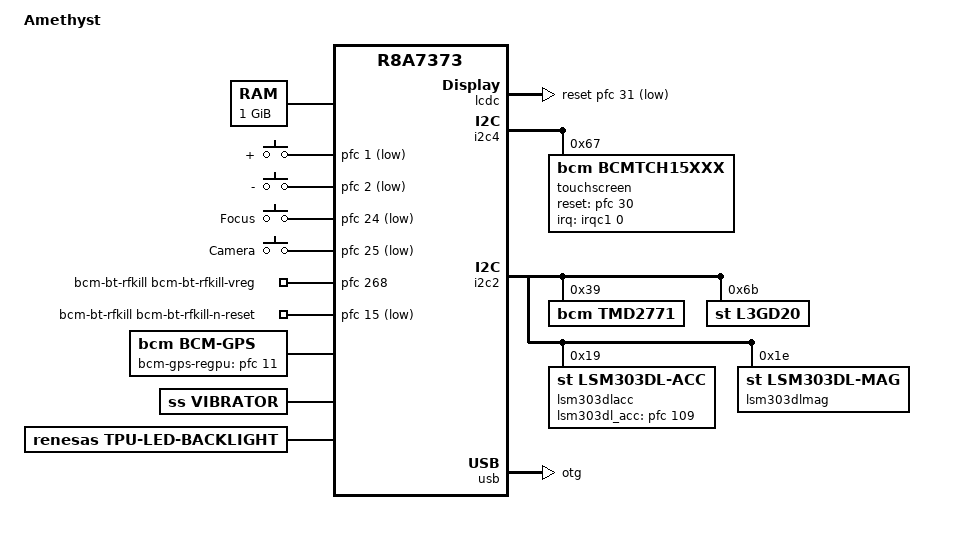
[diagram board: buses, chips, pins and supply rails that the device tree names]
/*
 * Device Tree Source for the r8a7373 based amethyst board
 *
 * Copyright (C) 2013 Renesas Mobile
 *
 * This file is licensed under the terms of the GNU General Public License
 * version 2.  This program is licensed "as is" without any warranty of any
 * kind, whether express or implied.
 */

#include "eos-board-common.dtsi"
#include <dt-bindings/gpio/gpio.h>
#include <dt-bindings/input/input.h>

/{
	model = "Amethyst";
	compatible = "renesas,amethyst", "renesas,r8a7373";

	chosen {
		bootargs = "console=ttySC0,115200 earlyprintk=sh-sci.0,115200";
		linux,sysrq-reset-seq {
			keyset = <KEY_VOLUMEDOWN KEY_VOLUMEUP>;
			timeout-ms = <3000>;
		};
	};

	memory@40000000 {
		device_type = "memory";
		reg = <0x40000000 0x40000000>;
	};

	gpio-keys {
		compatible = "gpio-keys";
		#address-cells = <0>;
		#size-cells = <0>;
		pinctrl-names = "default";
		pinctrl-0 = <&key_pins>;

		volume-up {
			label = "+";
			gpios = <&pfc 1 GPIO_ACTIVE_LOW>;
			linux,code = <KEY_VOLUMEUP>;
			gpio-key,wakeup;
		};

		volume-down {
			label = "-";
			gpios = <&pfc 2 GPIO_ACTIVE_LOW>;
			linux,code = <KEY_VOLUMEDOWN>;
			gpio-key,wakeup;
		};

		focus {
			label = "Focus";
			gpios = <&pfc 24 GPIO_ACTIVE_LOW>;
			linux,code = <KEY_CAMERA_FOCUS>;
			gpio-key,wakeup;
		};

		camera {
			label = "Camera";
			gpios = <&pfc 25 GPIO_ACTIVE_LOW>;
			linux,code = <KEY_CAMERA>;
			gpio-key,wakeup;
		};
	};

	bcm-bt-rfkill {
		compatible = "bcm,bcm-bt-rfkill";
		bcm-bt-rfkill-vreg-gpio = <&pfc 268 GPIO_ACTIVE_HIGH>;
		bcm-bt-rfkill-n-reset-gpio = <&pfc 15 GPIO_ACTIVE_LOW>;
	};

        wlan-sdio {
                compatible = "brcm,wlan-sdio";
                bcm-wlan-host-wake = <&pfc 98 GPIO_ACTIVE_HIGH>;
                bcm-wlan-reset = <&pfc 260 GPIO_ACTIVE_HIGH>;
        };

	lsm303dl-input {
		compatible = "st,lsm303dl-input";
	};

	sound {
		compatible = "renesas,fsi-snd-d2153";
		renesas,fsia = <&fsia>;
		renesas,fsib = <&fsib>;
		renesas,mclk-freq = <13000000>;
		renesas,audio-routing =
			"RECCHL", "AIFOUTL",
			"RECCHR", "AIFOUTR",
			"AIFINL", "VCLK4",
			"AIFINR", "VCLK4",
			"AIFOUTL", "VCLK4",
			"AIFOUTR", "VCLK4",
			"Headphone Jack Left", "Headphone Left PGA",
			"Headphone Jack Right", "Headphone Right PGA",
			"Speaker", "Speaker PGA",
			"Earpiece", "Earpiece PGA";
	};

	bcm-gps {
		compatible = "bcm,bcm-gps";
		bcm-gps-hostwake = <&pfc 0 GPIO_ACTIVE_HIGH>;
		bcm-gps-regpu-gpio = <&pfc 11 GPIO_ACTIVE_HIGH>;
	};

	vibrator {
		compatible = "ss,vibrator";
		regulator  = "vdd_motor_pmic";
		voltage    = <2800000>;
	};

	backlight {
		compatible = "renesas,tpu-led-backlight";
		renesas,tpu-channel = "TPU0TO3";
		max-brightness = <255>;
		default-brightness = <143>;
		pinctrl-names = "default", "idle";
		pinctrl-0 = <&backlight_pin>;
		pinctrl-1 = <&backlight_pin_hiz>;
	};
};

&lcdc {
	pname = "NT35516";
	reset-gpio = <&pfc 31 GPIO_ACTIVE_LOW>;
	te-irq = <&pfc 27 GPIO_ACTIVE_HIGH>;
	esd-irq = <&pfc 6 GPIO_ACTIVE_HIGH>;
	renesas,desense-offset= <2500000>;
};

&pfc {
	hogs {
		unused-pins {
			renesas,groups =
				"scifa0_clk", "scifa1_ctrl", "scifa1_clk",
				"scifb3_data", "vio_cko5", "bsc_rd_we16",
				"bsc_cs0", "bsc_cs2", "bsc_cs4", "bsc_wait",
				"bsc_rdwr", "bsc_data16", "bsc_cko",
				"bsc_addr_0_10","fsib_mclk_in", "sdhi2_data4",
				"sdhi2_ctrl", "sdhi0_wp";
			renesas,pins =
				"PORT3", "PORT6", "PORT8", "PORT10", "PORT14",
				"PORT17", "PORT18", "PORT23", "PORT26",
				"PORT29", "PORT33", "PORT44", "PORT46",
				"PORT47", "PORT72", "PORT73", "PORT74",
				"PORT75", "PORT80", "PORT81", "PORT82",
				"PORT83", "PORT86", "PORT87", "PORT88",
				"PORT89", "PORT90", "PORT96", "PORT97",
				"PORT102", "PORT103", "PORT104", "PORT105",
				"PORT107", "PORT110", "PORT140", "PORT141",
				"PORT142", "PORT198", "PORT199", "PORT275",
				"PORT276", "PORT277", "PORT311", "PORT312";
			bias-pull-down;
		};
	};

	key_pins: keys {
		renesas,pins = "PORT1", "PORT2", "PORT24", "PORT25";
		bias-pull-up;
	};

	backlight_pin: backlight {
		renesas,groups = "tpu0_to3";
		renesas,function = "tpu0";
	};

	backlight_pin_hiz: backlight_hiz {
		renesas,groups = "tpu0_to3";
		bias-high-impedance;
	};
};

&i2c4 {
	touchscreen@67 {
		compatible = "bcm,bcmtch15xxx";
		reg = <0x67>;
		addr-sys = <0x68>;
		interrupt-parent = <&irqc1>;
		interrupts = <0 IRQ_TYPE_EDGE_FALLING>;
		reset-gpios = <&pfc 30 GPIO_ACTIVE_HIGH>;
		reset-time-ms = <100>;
		axis-orientation-flag = <0>;
		ext-button-count = <3>;
		ext-button-map = <KEY_BACK KEY_HOME KEY_MENU>;
		power-on-delay-us = <0>;
		bcmtch-fw-rev = <1>;
	};
};

&i2c2 {
	#address-cells = <1>;
	#size-cells = <0>;

	/* Proximity Sensor */
	tmd2771: tmd2771@0x39 {
		compatible = "bcm,tmd2771";
		reg = <0x39>;
		gpio-irq-pin = <108>;
		calibrate_target_param = <300000>;
		als_time_param = <200>;
		scale_factor_param = <1>;
		gain_trim_param = <512>;
		filter_history_param = <3>;
		filter_count_param = <1>;
		gain_param = <2>;
		prox_threshold_hi_param = <255>;
		prox_threshold_lo_param = <170>;
		als_threshold_hi_param = <1>;
		als_threshold_lo_param = <0>;
		prox_int_time_param = <238>;
		prox_adc_time_param = <255>;
		prox_wait_time_param = <238>;
		prox_intr_filter_param = <17>;
		prox_config_param = <0>;
		prox_pulse_cnt_param = <32>;
		prox_gain_param = <0x62>;
		prox_win_sw = <10>;
	};

	/* Gyroscope Sensor */
	l3gd20: l3gd20@6b {
		compatible = "st,l3gd20";
		/* slave address */
		reg = <0x6b>;
		orientation = /bits/ 8 <0x00 0xFF 0x00
					0x01 0x00 0x00
					0x00 0x00 0x01>;
	};

	/* Accelerometer sensor */
	lsm303dlacc: lsm303dlacc@19 {
		compatible = "st,lsm303dl-acc";
		/* slave address */
		reg = <0x19>;
		lsm303dl_acc-gpio = <&pfc 109 GPIO_ACTIVE_HIGH>;
		orientation = /bits/ 8 <0xFF 0x00 0x00
					0x00 0xFF 0x00
					0x00 0x00 0xFF>;
	};

	/* Magnetometer Sensor */
	lsm303dlmag: lsm303dlmag@1e {
		compatible = "st,lsm303dl-mag";
		/* slave address */
		reg = <0x1e>;
		orientation = /bits/ 8 <0xFF 0x00 0x00
					0x00 0xFF 0x00
					0x00 0x00 0xFF>;
	};
};


&usb {
	/* set dr_mode = otg to enable otg for Amethyst */
	dr_mode = "otg";
	status = "okay";
};

&cmt17 {
	renesas,linux-timer-type = "rtc";
};
